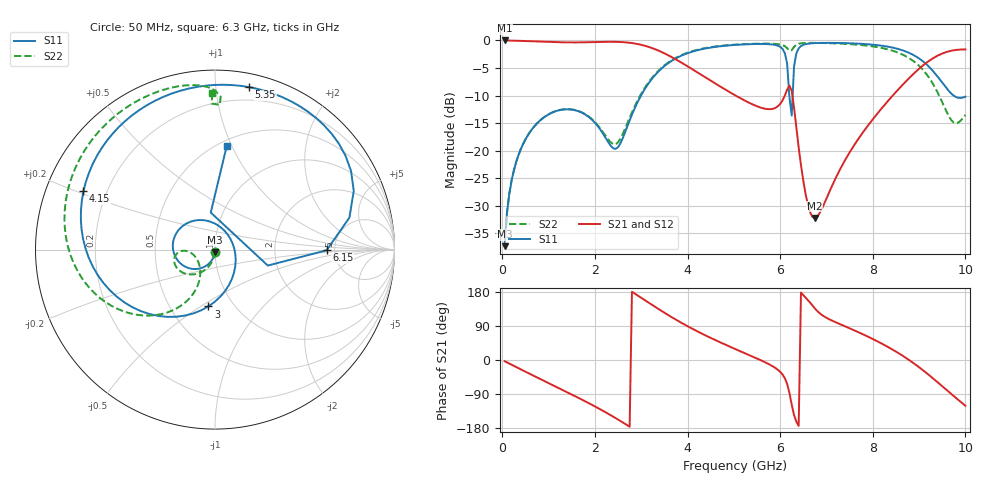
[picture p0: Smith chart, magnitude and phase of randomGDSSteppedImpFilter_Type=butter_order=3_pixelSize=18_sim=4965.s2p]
! freq	dB(S11)	phase(S11)	dB(S12)	phase(S12)
!  dB(S21)	phase(S21)	dB(S22)	phase(S22)
!S-par simulation data
#  GHz  S  DB  R 50
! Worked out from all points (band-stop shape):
!   200 points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, 50 MHz to 10 GHz, reference 50 ohm
!   highest |S21| = -0.01 dB at 50 MHz (marker M1); lowest = -32.2 dB at 6.75 GHz (marker M2)
!   |S21| within 3 dB of the highest: start of sweep to 3.654 GHz; 9.347 GHz to end of sweep
!   lowest |S11| = -37.3 dB at 50 MHz (marker M3), VSWR 1.03, Z = 49.9 - j1.35 ohm
!   |S11| at or under -10 dB: start of sweep to 2.996 GHz; 6.198 GHz to 6.27 GHz (72.5 MHz wide, 1.16 % of centre); 9.744 GHz to end of sweep
!   |S22| runs from -37.3 to -0.4 dB; largest |S21 - S12| = 0
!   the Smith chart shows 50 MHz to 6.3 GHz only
!   S11 on the Smith chart (normalised r, x): 50 MHz: 1.00, -0.03; 3 GHz: 0.76, -0.54; 4.15 GHz: 0.11, +0.21; 5.35 GHz: 0.10, +1.23; 6.15 GHz: 4.29, -0.06; 6.3 GHz: 0.55, +0.96
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0.05  -37.34 -93.1  -0.01 -3.2  -0.01 -3.2  -37.33 -92.1
0.2  -25.47 -104.3  -0.03 -12.5  -0.03 -12.5  -25.45 -100.6
0.55  -17.25 -129.6  -0.13 -33.9  -0.13 -33.9  -17.23 -119.1
1.75  -13.25 139.3  -0.35 -106.5  -0.35 -106.5  -13.19 -172.7
2.45  -19.68 19.1  -0.26 -153.5  -0.26 -153.5  -18.83 -146.6
3  -9.93 -96.7  -0.80 164.1  -0.80 164.1  -9.67 -118.8
3.4  -5.41 -140.3  -1.95 132.5  -1.95 132.5  -5.26 -137.8
4.15  -1.92 156.0  -5.47 79.5  -5.47 79.5  -1.83 -178.8
5.05  -0.80 96.4  -10.06 27.9  -10.06 27.9  -0.75 138.9
5.35  -0.68 78.2  -11.40 12.0  -11.40 12.0  -0.62 125.7
5.9  -0.83 40.7  -12.24 -21.2  -12.24 -21.2  -0.63 100.6
6.15  -4.13 -0.4  -8.95 -62.8  -8.95 -62.8  -1.38 87.9
6.25  -13.65 96.5  -9.13 -118.2  -9.13 -118.2  -1.79 91.3
6.3  -4.72 83.5  -12.17 -145.3  -12.17 -145.3  -1.18 91.0
6.7  -0.51 27.0  -32.06 143.3  -32.06 143.3  -0.44 67.6
6.75  -0.49 23.8  -32.24 136.0  -32.24 136.0  -0.45 64.9
7.65  -0.56 -21.9  -18.35 75.5  -18.35 75.5  -0.76 13.4
8.35  -1.17 -54.2  -10.78 32.9  -10.78 32.9  -1.68 -38.6
8.8  -2.32 -75.9  -6.71 -1.4  -6.71 -1.4  -3.29 -83.3
9.25  -5.09 -95.5  -3.51 -43.3  -3.51 -43.3  -7.21 -144.8
9.65  -9.25 -95.4  -1.96 -85.0  -1.96 -85.0  -13.87 124.1
10  -10.21 -74.3  -1.63 -120.7  -1.63 -120.7  -13.53 11.7
